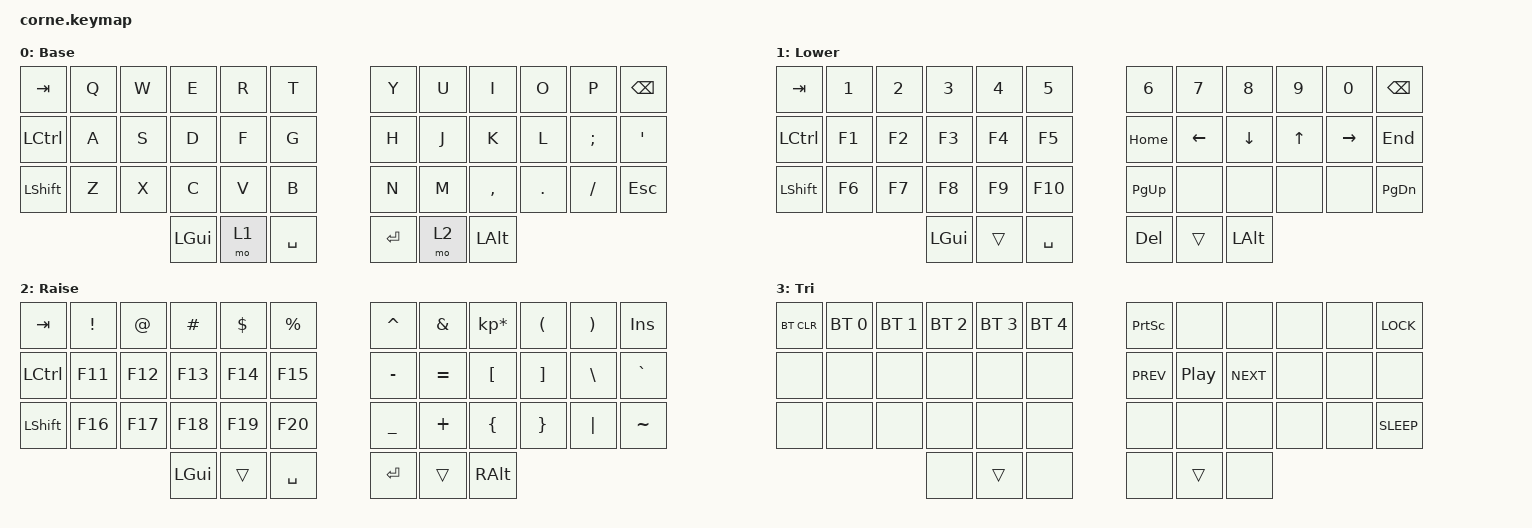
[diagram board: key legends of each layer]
/*
 * Copyright (c) 2020 The ZMK Contributors
 *
 * SPDX-License-Identifier: MIT
 */

#include <behaviors.dtsi>
#include <dt-bindings/zmk/keys.h>
#include <dt-bindings/zmk/bt.h>

/ {
    keymap {
        compatible = "zmk,keymap";

        default_layer {
            // -----------------------------------------------------------------------------------------
            // |  TAB |  Q  |  W  |  E  |  R  |  T  |   |  Y  |  U   |  I  |  O  |  P  | BKSP |
            // | CTRL |  A  |  S  |  D  |  F  |  G  |   |  H  |  J   |  K  |  L  |  ;  |  '   |
            // | SHFT |  Z  |  X  |  C  |  V  |  B  |   |  N  |  M   |  ,  |  .  |  /  | ESC  |
            //                    | GUI | LWR | SPC |   | ENT | RSE  | ALT |

            display-name = "Base";
            bindings = <
&kp TAB    &kp Q  &kp W  &kp E     &kp R  &kp T        &kp Y    &kp U  &kp I      &kp O    &kp P     &kp BSPC
&kp LCTRL  &kp A  &kp S  &kp D     &kp F  &kp G        &kp H    &kp J  &kp K      &kp L    &kp SEMI  &kp SQT
&kp LSHFT  &kp Z  &kp X  &kp C     &kp V  &kp B        &kp N    &kp M  &kp COMMA  &kp DOT  &kp FSLH  &kp ESC
                         &kp LGUI  &mo 1  &kp SPACE    &kp RET  &mo 2  &kp LALT
            >;
        };

        lower_layer {
            // -----------------------------------------------------------------------------------------
            // |  TAB |  1  |  2  |  3  |  4  |  5  |   |  6  |  7  |  8  |  9  |  0  | BKSP |
            // | CTRL | F1  | F2  | F3  | F4  | F5  |   | HOME| LFT | DWN |  UP | RGT | END  |
            // | SHFT | F6  | F7  | F8  | F9  | F10 |   | PGUP|     |     |     |     | PGDWN|
            //                    | GUI |     | SPC |   | ENT |     | ALT |

            display-name = "Lower";
            bindings = <
&kp TAB    &kp N1  &kp N2  &kp N3    &kp N4  &kp N5       &kp N6       &kp N7    &kp N8        &kp N9  &kp N0     &kp BACKSPACE
&kp LCTRL  &kp F1  &kp F2  &kp F3    &kp F4  &kp F5       &kp HOME     &kp LEFT  &kp DOWN      &kp UP  &kp RIGHT  &kp END
&kp LSHFT  &kp F6  &kp F7  &kp F8    &kp F9  &kp F10      &kp PAGE_UP  &none     &none         &none   &none      &kp PAGE_DOWN
                           &kp LGUI  &trans  &kp SPACE    &kp DELETE   &trans    &kp LEFT_ALT
            >;
        };

        raise_layer {
            // -----------------------------------------------------------------------------------------
            // |  TAB |  !  |  @  |  #  |  $  |  %  |   |  ^  |  &  |  *  |  (  |  )  | BKSP |
            // | CTRL |     |     |     |     |     |   |  -  |  =  |  [  |  ]  |  \  |  `   |
            // | SHFT |     |     |     |     |     |   |  _  |  +  |  {  |  }  | "|" |  ~   |
            //                    | GUI |     | SPC |   | ENT |     | ALT |

            display-name = "Raise";
            bindings = <
&kp TAB    &kp EXCL  &kp AT   &kp HASH  &kp DLLR  &kp PRCNT    &kp CARET  &kp AMPS   &kp KP_MULTIPLY  &kp LPAR  &kp RPAR  &kp INSERT
&kp LCTRL  &kp F11   &kp F12  &kp F13   &kp F14   &kp F15      &kp MINUS  &kp EQUAL  &kp LBKT         &kp RBKT  &kp BSLH  &kp GRAVE
&kp LSHFT  &kp F16   &kp F17  &kp F18   &kp F19   &kp F20      &kp UNDER  &kp PLUS   &kp LBRC         &kp RBRC  &kp PIPE  &kp TILDE
                              &kp LGUI  &trans    &kp SPACE    &kp RET    &trans     &kp RALT
            >;
        };

        tri_layer {
            // -----------------------------------------------------------------------------------------
            // |BTCLR| BT1 | BT2 | BT3 | BT4 | BT5 |   |PRTSC|     |     |     |     |LOCK |
            // |     |     |     |     |     |     |   |PREV |PLAY |NEXT |     |     |     |
            // |     |     |     |     |     |     |   |     |     |     |     |     |SLEEP|
            //                   |     |     |     |   |     |     |     |

            display-name = "Tri";
            bindings = <
&bt BT_CLR  &bt BT_SEL 0  &bt BT_SEL 1  &bt BT_SEL 2  &bt BT_SEL 3  &bt BT_SEL 4    &kp PRINTSCREEN  &none     &none       &none  &none  &kp K_LOCK
&none       &none         &none         &none         &none         &none           &kp C_PREV       &kp C_PP  &kp C_NEXT  &none  &none  &none
&none       &none         &none         &none         &none         &none           &none            &none     &none       &none  &none  &kp C_SLEEP
                                        &none         &trans        &none           &none            &trans    &none
            >;
        };

        extra_2 { status = "reserved"; };

        extra_3 { status = "reserved"; };
    };

    conditional_layers {
        compatible = "zmk,conditional-layers";

        mo-tri-layer {
            if-layers = <1 2>;
            then-layer = <3>;
        };
    };
};
